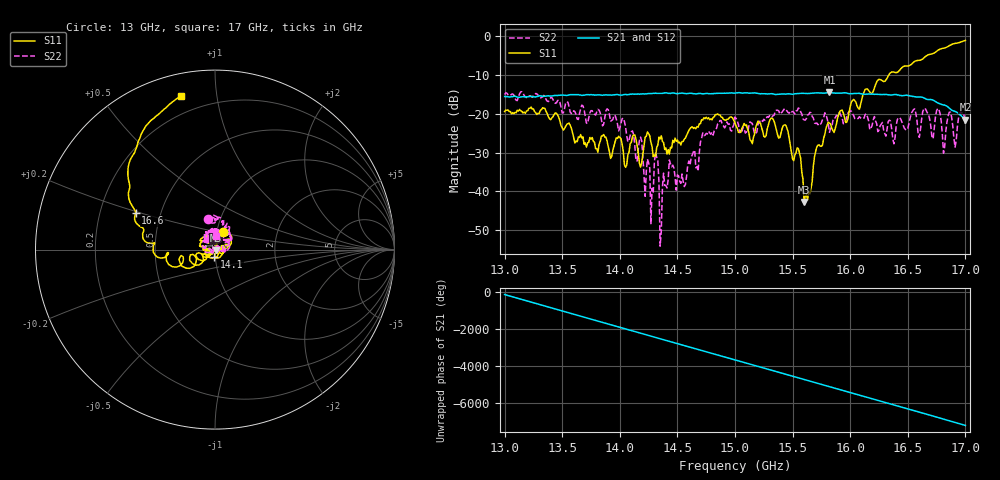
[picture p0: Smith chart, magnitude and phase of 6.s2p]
!Keysight Technologies,P9374A,MY57211807,A.19.30.04
!Date: Friday, May 01, 2026 14:43:17
!Correction: S11(C  2-Port  )
!S21(C  2-Port  )
!S12(C  2-Port  )
!S22(C  2-Port  )
!S2P File: Measurements: S11, S21, S12, S22:
# Hz S  RI  R 50
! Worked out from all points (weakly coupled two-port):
!   401 points, 13 GHz to 17 GHz, reference 50 ohm
!   highest |S21| = -14.53 dB at 15.82 GHz (marker M1); lowest = -21.5 dB at 17 GHz (marker M2)
!   lowest |S11| = -42.7 dB at 15.6 GHz (marker M3), VSWR 1.01, Z = 50.6 - j0.41 ohm
!   |S11| at or under -10 dB: start of sweep to 16.34 GHz
!   |S22| runs from -54.1 to -14.3 dB; largest |S21 - S12| = 0.005
!   S11 on the Smith chart (normalised r, x): 13 GHz: 1.08, +0.21; 14.1 GHz: 0.99, -0.08; 16.6 GHz: 0.36, +0.19; 17 GHz: 0.11, +0.80
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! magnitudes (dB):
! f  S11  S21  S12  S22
! 13 GHz  -19.4  -15.6  -15.5  -15.1
! 13.67 GHz  -26.2  -15.3  -15.3  -17.8
! 13.99 GHz  -25.8  -15.1  -15.1  -24.4
! 14.06 GHz  -33.2  -15.1  -15.1  -25.7
! 14.1 GHz  -27.4  -15.0  -15.0  -24.6
! 14.18 GHz  -33.7  -14.9  -14.9  -26.0
! 14.27 GHz  -27.4  -14.8  -14.7  -48.3
! 14.32 GHz  -28.7  -14.8  -14.8  -31.1
! 14.34 GHz  -26.0  -14.8  -14.8  -37.7
! 14.37 GHz  -27.1  -14.8  -14.7  -38.9
! 14.45 GHz  -28.8  -14.7  -14.7  -33.6
! 14.55 GHz  -27.2  -14.7  -14.7  -37.5
! 14.73 GHz  -21.0  -14.9  -14.8  -25.6
! 15 GHz  -22.4  -14.7  -14.7  -20.9
! 15.44 GHz  -22.9  -14.9  -14.9  -19.0
! 15.55 GHz  -29.0  -14.8  -14.8  -18.5
! 15.6 GHz  -42.7  -14.8  -14.8  -21.6
! 15.67 GHz  -37.5  -14.7  -14.7  -20.7
! 15.82 GHz  -22.4  -14.5  -14.5  -24.8
! 16.34 GHz  -9.8  -15.2  -15.1  -21.6
! 16.6 GHz  -6.2  -15.7  -15.7  -26.1
! 17 GHz  -1.1  -21.5  -21.5  -22.6
